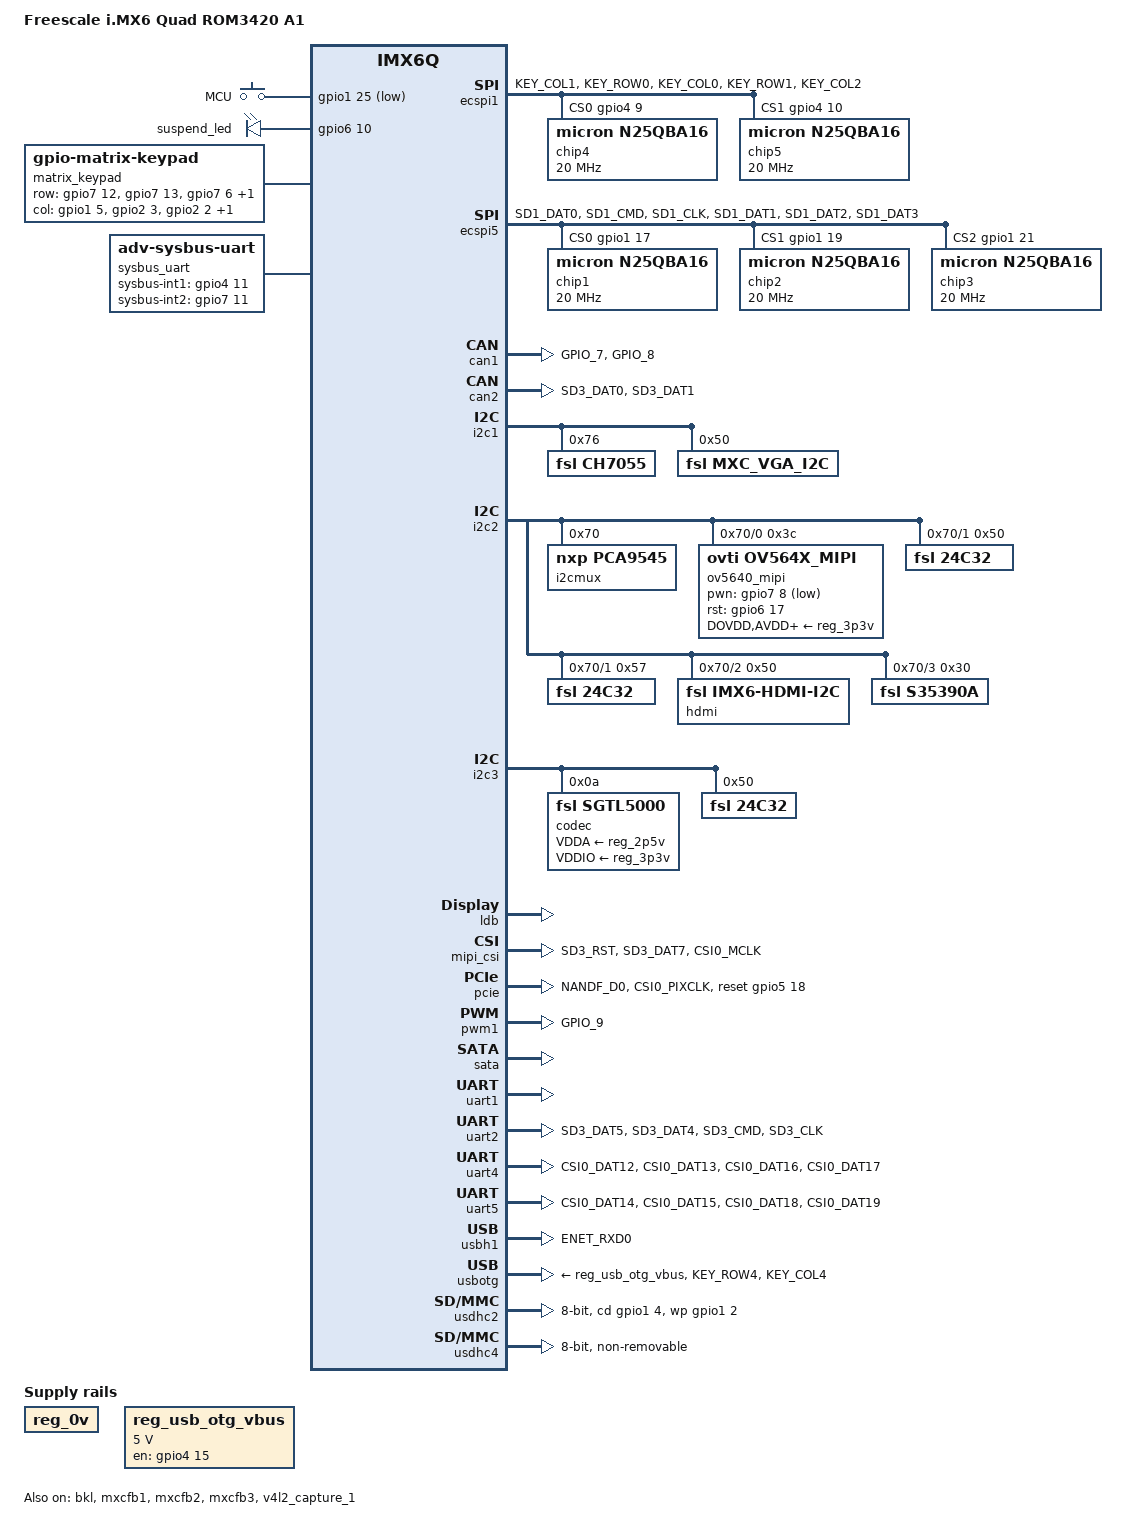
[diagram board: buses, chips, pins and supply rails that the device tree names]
/*
 * Copyright 2012 Freescale Semiconductor, Inc.
 * Copyright 2011 Linaro Ltd.
 *
 * The code contained herein is licensed under the GNU General Public
 * License. You may obtain a copy of the GNU General Public License
 * Version 2 or later at the following locations:
 *
 * http://www.opensource.org/licenses/gpl-license.html
 * http://www.gnu.org/copyleft/gpl.html
 */

/dts-v1/;

#include "imx6q.dtsi"
#include "imx6qdl-advantech.dtsi"

/ {
	model = "Freescale i.MX6 Quad ROM3420 A1";
	compatible = "fsl,imx6q-sabresd", "fsl,imx6q";

	board {
		compatible = "proc-board";
		board-type = "ROM-3420 A1";
		board-cpu = "DualQuad";
	};

	regulators {

		reg_0v: 0v {
			compatible = "regulator-fixed";
			regulator-name = "0V";
			regulator-min-microvolt = <0>;
			regulator-max-microvolt = <0>;
			regulator-always-on;
		};

		reg_usb_otg_vbus: usb_otg_vbus {
			compatible = "regulator-fixed";
			regulator-name = "usb_otg_vbus";
			regulator-min-microvolt = <5000000>;
			regulator-max-microvolt = <5000000>;
			gpio = <&gpio4 15  GPIO_ACTIVE_HIGH>;
			enable-active-high;
		};
	};

	gpio-keys {
		pinctrl-names = "default";
		pinctrl-0 = <&pinctrl_gpio_sleep_1>;
		compatible = "gpio-keys";
		mcu {
			label = "MCU";
			gpios = <&gpio1 25 1>; /* active low */
			linux,input-type = <1>;	/* EV_KEY */
			linux,code = <116>;	/* KEY_POWER */
			debounce_interval = <1>;
			gpio-key,wakeup;
		};
	};

	leds {
		compatible = "gpio-leds";
		pinctrl-names = "default";
		pinctrl-0 = <&pinctrl_leds_suspend_1>;
		suspend-led {	/* STBY_LED */
			label = "suspend_led";
			gpios = <&gpio6 10 0>;
			linux,default-trigger = "default-on";
			default-state = "on";
		};
	};

	matrix_keypad: matrix_keypad@0 {
		compatible = "gpio-matrix-keypad";
		debounce-delay-ms = <5>;
		col-scan-delay-us = <2>;

		row-gpios = <&gpio7 12 0	/* Bank7, pin12 */
					 &gpio7 13 0	/* Bank7, pin13 */
					 &gpio7  6 0	/* Bank7, pin6 */
					 &gpio7  7 0>;	/* Bank7, pin7 */

		col-gpios = <&gpio1 5 0		/* Bank1, pin5 */
					 &gpio2 3 0		/* Bank2, pin3 */
					 &gpio2 2 0		/* Bank2, pin2 */
					 &gpio1 1 0>;	/* Bank1, pin1 */

		linux,keymap = <0x00000001		/* KEY_ESC */
						0x00010002		/* KEY_1 */
						0x00020003		/* KEY_2 */
						0x00030004		/* KEY_3 */
						0x01000005		/* KEY_4 */
						0x01010006		/* KEY_5 */
						0x01020007		/* KEY_6 */
						0x01030008		/* KEY_7 */
						0x02000009		/* KEY_8 */
						0x0201000A		/* KEY_9 */
						0x0202000B		/* KEY_0 */
						0x0203000C		/* KEY_MINUS */
						0x0300000D		/* KEY_EQUAL */
						0x0301000E		/* KEY_BACKSPACE */
						0x0302000F		/* KEY_TAB */
						0x03030010>;	/* KEY_Q */
	};

	sysbus_uart {
		compatible = "adv-sysbus-uart";
		sysbus-int1 = <&gpio4 11 0>;
		sysbus-int2 = <&gpio7 11 0>;
	};
};

&audio_sgtl5000 {
	audio-codec = <&codec>;
};

&bkl {
	lvds-bkl-enable = <&gpio5 20 1>;
	lvds-vcc-enable = <&gpio5 21 1>;
	pwms = <&pwm1 0 5000000>;
	status = "okay";
};

&ecspi1 {
	fsl,spi-num-chipselects = <2>;
	cs-gpios = <&gpio4 9 0>, <&gpio4 10 0>;
	pinctrl-names = "default";
	pinctrl-0 = <&pinctrl_ecspi1_3 &pinctrl_ecspi1_cs_0 &pinctrl_ecspi1_cs_2>;
	status = "okay";

	chip4: m25p80@0 {
		compatible = "micron,n25qba16";
		spi-max-frequency = <20000000>;
		reg = <0>;
	};
	chip5: m25p80@1 {
		compatible = "micron,n25qba16";
		spi-max-frequency = <20000000>;
		reg = <1>;
	};
};

&ecspi5 {
	fsl,spi-num-chipselects = <3>;
	cs-gpios = <&gpio1 17 0>, <&gpio1 19 0>, <&gpio1 21 0>;
	pinctrl-names = "default";
	pinctrl-0 = <&pinctrl_ecspi5_1 &pinctrl_ecspi5_cs_0 &pinctrl_ecspi5_cs_1 &pinctrl_ecspi5_cs_2>;
	status = "okay";

	chip1: m25p80@0 {
		compatible = "micron,n25qba16";
		spi-max-frequency = <20000000>;
		reg = <0>;
	};
	chip2: m25p80@1 {
		compatible = "micron,n25qba16";
		spi-max-frequency = <20000000>;
		reg = <1>;
	};
	chip3: m25p80@2 {
		compatible = "micron,n25qba16";
		spi-max-frequency = <20000000>;
		reg = <2>;
	};
};

&can1 {
	pinctrl-names = "default";
	pinctrl-0 = <&pinctrl_flexcan1_1>;
	status = "okay";
};

&can2 {
	pinctrl-names = "default";
	pinctrl-0 = <&pinctrl_flexcan2_1>;
	status = "okay";
};

&i2c1 {

	ch7055@76 {
		compatible = "fsl,ch7055";
		reg = <0x76>;
	};

	mxc_vga_i2c@50 {
		compatible = "fsl,mxc_vga_i2c";
		reg = <0x50>;
	};
};

&i2c2 {

	i2cmux@70 {
		#address-cells = <1>;
		#size-cells = <0>;
		compatible = "nxp,pca9545";
		reg = <0x70>;

		i2c2@0 {
			reg = <0>;
			#address-cells = <1>;
			#size-cells = <0>;

			ov5640_mipi: ov5640_mipi@3c {
				compatible = "ovti,ov564x_mipi";
				reg = <0x3c>;
				clocks = <&clks 201>;
				clock-names = "csi_mclk";
				DOVDD-supply = <&reg_3p3v>; /* 3.3v, enabled via 2.8 VGEN6 */
				AVDD-supply = <&reg_3p3v>;  /* 1.8v */
				DVDD-supply = <&reg_3p3v>;  /* 1.8v */
				PVDD-supply = <&reg_3p3v>;  /* 1.8v */
				pwn-gpios = <&gpio7 8 1>;
				rst-gpios = <&gpio6 17 0>;
				csi_id = <1>;
				mclk = <24000000>;
				mclk_source = <0>;
			};
		};

		i2c2@1 {
			reg = <1>;
			#address-cells = <1>;
			#size-cells = <0>;

			24c32@50 {
				compatible = "fsl,24c32";
				reg = <0x50>;
			};

			24c32@57 {
				compatible = "fsl,24c32";
				reg = <0x57>;
			};
		};

		i2c2@2 {
			reg = <2>;
			#address-cells = <1>;
			#size-cells = <0>;

			hdmi: edid@50 {
				compatible = "fsl,imx6-hdmi-i2c";
				reg = <0x50>;
			};
		};

		i2c2@3 {
			reg = <3>;
			#address-cells = <1>;
			#size-cells = <0>;

			s35390a@30 {
				compatible = "fsl,s35390a";
				reg = <0x30>;
			};
		};
	};
};

&i2c3 {

	codec: sgtl5000@0a {
		compatible = "fsl,sgtl5000";
		reg = <0x0a>;
		clocks = <&clks 201>;
		VDDA-supply = <&reg_2p5v>;
		VDDIO-supply = <&reg_3p3v>;
		mclk = <16000000>;
		mclk_source = <0>;
	};

	24c32@50 {
		compatible = "fsl,24c32";
		reg = <0x50>;
	};
};

&iomuxc {
	pinctrl-names = "default";
	pinctrl-0 = <&pinctrl_hog_1 &pinctrl_hog_2 &pinctrl_hog_3>;

	can1 {
		pinctrl_flexcan1_1: flexcan1grp-1 {
			fsl,pins = <
				MX6QDL_PAD_GPIO_7__FLEXCAN1_TX		0x80000000
				MX6QDL_PAD_GPIO_8__FLEXCAN1_RX		0x80000000
			>;
		};
	};

	can2 {
		pinctrl_flexcan2_1: flexcan2grp-1 {
			fsl,pins = <
				MX6QDL_PAD_SD3_DAT0__FLEXCAN2_TX	0x80000000
				MX6QDL_PAD_SD3_DAT1__FLEXCAN2_RX	0x80000000
			>;
		};
	};

	gpio-keys {
			pinctrl_gpio_sleep_1: gpio_sleep1grp-1 {
			fsl,pins = <
				MX6QDL_PAD_ENET_CRS_DV__GPIO1_IO25	0x80000000	/* SLEEP Button */
			>;
		};
	};

	hog {
		pinctrl_hog_2: hoggrp-2 {
			fsl,pins = <
				MX6QDL_PAD_GPIO_1__GPIO1_IO01		0x80000000	/* GPIO0 */
				MX6QDL_PAD_NANDF_D2__GPIO2_IO02		0x80000000	/* GPIO1 */
				MX6QDL_PAD_NANDF_D3__GPIO2_IO03		0x80000000	/* GPIO2 */
				MX6QDL_PAD_GPIO_5__GPIO1_IO05		0x80000000	/* GPIO3 */
				MX6QDL_PAD_GPIO_17__GPIO7_IO12		0x80000000	/* GPIO4 */
				MX6QDL_PAD_GPIO_18__GPIO7_IO13		0x80000000	/* GPIO5 */
				MX6QDL_PAD_SD3_DAT2__GPIO7_IO06		0x80000000	/* GPIO6 */
				MX6QDL_PAD_SD3_DAT3__GPIO7_IO07		0x80000000	/* GPIO7 */
				MX6QDL_PAD_NANDF_ALE__GPIO6_IO08	0x80000000	/* GPIO8 */
				MX6QDL_PAD_NANDF_D6__GPIO2_IO06		0x80000000	/* GPIO9 */
			>;
		};

		pinctrl_hog_3: hoggrp-3 {
			fsl,pins = <
				MX6QDL_PAD_EIM_CS0__EIM_CS0_B		0xb0b1		/* CS0 */
				MX6QDL_PAD_EIM_CS1__EIM_CS1_B		0xb0b1		/* CS1 */
				MX6QDL_PAD_KEY_ROW2__GPIO4_IO11		0x1b0b0		/* ADV_EXT_UART0_INT: CS0 - INT Pin - irq */
				MX6QDL_PAD_GPIO_16__GPIO7_IO11		0x1b0b0		/* ADV_EXT_UART1_INT: CS1 - INT Pin - irq */
				MX6QDL_PAD_EIM_OE__EIM_OE_B     	0xb0b1
				MX6QDL_PAD_EIM_RW__EIM_RW       	0xb0b1
				MX6QDL_PAD_EIM_WAIT__EIM_WAIT_B 	0xb060
				MX6QDL_PAD_EIM_A25__EIM_ADDR25		0xb0b1
				MX6QDL_PAD_EIM_EB2__EIM_EB2_B		0x1b0b0
				MX6QDL_PAD_EIM_D16__EIM_DATA16		0xb0b1
				MX6QDL_PAD_EIM_D17__EIM_DATA17		0xb0b1
				MX6QDL_PAD_EIM_D18__EIM_DATA18		0xb0b1
				MX6QDL_PAD_EIM_D19__EIM_DATA19		0xb0b1
				MX6QDL_PAD_EIM_D20__EIM_DATA20		0xb0b1
				MX6QDL_PAD_EIM_D21__EIM_DATA21		0xb0b1
				MX6QDL_PAD_EIM_D22__EIM_DATA22		0xb0b1
				MX6QDL_PAD_EIM_D23__EIM_DATA23		0xb0b1
				MX6QDL_PAD_EIM_EB3__EIM_EB3_B		0x1b0b0
				MX6QDL_PAD_EIM_D24__EIM_DATA24		0xb0b1
				MX6QDL_PAD_EIM_D25__EIM_DATA25		0xb0b1
				MX6QDL_PAD_EIM_D26__EIM_DATA26		0xb0b1
				MX6QDL_PAD_EIM_D27__EIM_DATA27		0xb0b1
				MX6QDL_PAD_EIM_D28__EIM_DATA28		0xb0b1
				MX6QDL_PAD_EIM_D29__EIM_DATA29		0xb0b1
				MX6QDL_PAD_EIM_D30__EIM_DATA30		0xb0b1
				MX6QDL_PAD_EIM_D31__EIM_DATA31		0xb0b1
				MX6QDL_PAD_EIM_A24__EIM_ADDR24		0xb0b1
				MX6QDL_PAD_EIM_A23__EIM_ADDR23		0xb0b1
				MX6QDL_PAD_EIM_A22__EIM_ADDR22		0xb0b1
				MX6QDL_PAD_EIM_A21__EIM_ADDR21		0xb0b1
				MX6QDL_PAD_EIM_A20__EIM_ADDR20		0xb0b1
				MX6QDL_PAD_EIM_A19__EIM_ADDR19		0xb0b1
				MX6QDL_PAD_EIM_A18__EIM_ADDR18		0xb0b1
				MX6QDL_PAD_EIM_A17__EIM_ADDR17		0xb0b1
				MX6QDL_PAD_EIM_A16__EIM_ADDR16		0xb0b1
				MX6QDL_PAD_EIM_LBA__EIM_LBA_B		0xb0b1
				MX6QDL_PAD_EIM_EB0__EIM_EB0_B		0xb0b1
				MX6QDL_PAD_EIM_EB1__EIM_EB1_B		0xb0b1
				MX6QDL_PAD_EIM_DA0__EIM_AD00		0xb0b1
				MX6QDL_PAD_EIM_DA1__EIM_AD01		0xb0b1
				MX6QDL_PAD_EIM_DA2__EIM_AD02		0xb0b1
				MX6QDL_PAD_EIM_DA3__EIM_AD03		0xb0b1
				MX6QDL_PAD_EIM_DA4__EIM_AD04		0xb0b1
				MX6QDL_PAD_EIM_DA5__EIM_AD05		0xb0b1
				MX6QDL_PAD_EIM_DA6__EIM_AD06		0xb0b1
				MX6QDL_PAD_EIM_DA7__EIM_AD07		0xb0b1
				MX6QDL_PAD_EIM_DA8__EIM_AD08		0xb0b1
				MX6QDL_PAD_EIM_DA9__EIM_AD09		0xb0b1
				MX6QDL_PAD_EIM_DA10__EIM_AD10		0xb0b1
				MX6QDL_PAD_EIM_DA11__EIM_AD11		0xb0b1
				MX6QDL_PAD_EIM_DA12__EIM_AD12		0xb0b1
				MX6QDL_PAD_EIM_DA13__EIM_AD13		0xb0b1
				MX6QDL_PAD_EIM_DA14__EIM_AD14		0xb0b1
				MX6QDL_PAD_EIM_DA15__EIM_AD15		0xb0b1
				MX6QDL_PAD_EIM_BCLK__EIM_BCLK		0xb0b1
			>;
		};
	};

	keypad {
		pinctrl_keypad_1: keypad_grp-1 {
			fsl,pins = <
				MX6QDL_PAD_GPIO_1__GPIO1_IO01		0x80000000	/* col 3: GPIO0 */
				MX6QDL_PAD_NANDF_D2__GPIO2_IO02		0x80000000	/* col 2: GPIO1 */
				MX6QDL_PAD_NANDF_D3__GPIO2_IO03		0x80000000	/* col 1: GPIO2 */
				MX6QDL_PAD_GPIO_5__GPIO1_IO05		0x80000000	/* col 0: GPIO3 */
				MX6QDL_PAD_GPIO_17__GPIO7_IO12		0x80000000	/* row 0: GPIO4 */
				MX6QDL_PAD_GPIO_18__GPIO7_IO13		0x80000000	/* row 1: GPIO5 */
				MX6QDL_PAD_SD3_DAT2__GPIO7_IO06		0x80000000	/* row 2: GPIO6 */
				MX6QDL_PAD_SD3_DAT3__GPIO7_IO07		0x80000000	/* row 3: GPIO7 */
			>;
		};
	};

	leds {
		pinctrl_leds_suspend_1: leds_suspend1grp-1{
			fsl,pins = <
				MX6QDL_PAD_NANDF_RB0__GPIO6_IO10	0x80000000	/* Suspend LED */
			>;
		};
	};

	lvds {
		pinctrl_lvds_bkl_1: lvds_bklgrp-1 {
			fsl,pins = <
				MX6QDL_PAD_CSI0_DATA_EN__GPIO5_IO20	0x170b0		/* LCD_BKLT_EN */
			>;
		};
		pinctrl_lvds_vcc_1: lvds_vccgrp-1 {
			fsl,pins = <
				MX6QDL_PAD_CSI0_VSYNC__GPIO5_IO21	0x170b0		/* LCD_VDD_EN */
			>;
		};
	};

	mipi-csi {
		pinctrl_mipi_csi_1: mipi_csi1grp-1{
			fsl,pins = <
				MX6QDL_PAD_SD3_RST__GPIO7_IO08		0x80000000	/* MIPICSI_PWN */
				MX6QDL_PAD_SD3_DAT7__GPIO6_IO17		0x80000000	/* MIPICSI_RST */
				MX6QDL_PAD_CSI0_MCLK__CCM_CLKO1		0x80000000	/* CSI0_MCLK */
			>;
		};
	};

	pcie {
		pinctrl_pcie_1: pcie1grp-1 {
			fsl,pins = <
				MX6QDL_PAD_NANDF_D0__GPIO2_IO00 	0x80000000	/* PCIE_WAKE_B */
				MX6QDL_PAD_CSI0_PIXCLK__GPIO5_IO18	0x80000000	/* PCIE_RST_B_REVB */
			>;
		};
	};

	pwm1 {
		pinctrl_pwm1_1: pwm1grp-1 {
			fsl,pins = <
				MX6QDL_PAD_GPIO_9__PWM1_OUT			0x1b0b1
			>;
		};
	};

	spi1 {
		pinctrl_ecspi1_cs_0: ecspi1_cs_grp-0 {
			fsl,pins = <
				MX6QDL_PAD_KEY_ROW1__GPIO4_IO09		0x0001B0B0	/* ECSPI1_CS0 */
			>;
		};

		pinctrl_ecspi1_cs_2: ecspi1_cs_grp-2 {
			fsl,pins = <
				MX6QDL_PAD_KEY_COL2__GPIO4_IO10		0x0001B0B0	/* ECSPI1_CS1 */
			>;
		};

		pinctrl_ecspi1_3: ecspi1grp-3 {
			fsl,pins = <
				MX6QDL_PAD_KEY_COL1__ECSPI1_MISO	0x0001B0B0
				MX6QDL_PAD_KEY_ROW0__ECSPI1_MOSI	0x0001B0B0
				MX6QDL_PAD_KEY_COL0__ECSPI1_SCLK	0x0001B0B0
			>;
		};
	};

	spi5 {
		pinctrl_ecspi5_cs_0: ecspi5_cs_grp-0 {
			fsl,pins = <
				MX6QDL_PAD_SD1_DAT1__GPIO1_IO17		0x0001B0B0	/* ECSPI5_CS0 */
			>;
		};

		pinctrl_ecspi5_cs_1: ecspi5_cs_grp-1 {
			fsl,pins = <
				MX6QDL_PAD_SD1_DAT2__GPIO1_IO19		0x0001B0B0	/* ECSPI5_CS1 */
			>;
		};

		pinctrl_ecspi5_cs_2: ecspi5_cs_grp-2 {
			fsl,pins = <
				MX6QDL_PAD_SD1_DAT3__GPIO1_IO21		0x0001B0B0	/* ECSPI5_CS2 */
			>;
		};

		pinctrl_ecspi5_1: ecspi5grp-1 {
			fsl,pins = <
				MX6QDL_PAD_SD1_DAT0__ECSPI5_MISO	0x0001B0B0
				MX6QDL_PAD_SD1_CMD__ECSPI5_MOSI		0x0001B0B0
				MX6QDL_PAD_SD1_CLK__ECSPI5_SCLK		0x0001B0B0
			>;
		};
	};

	uart2 {
		pinctrl_uart2_4: uart2grp-4 {
			fsl,pins = <
				MX6QDL_PAD_SD3_DAT5__UART2_TX_DATA	0x1b0b1
				MX6QDL_PAD_SD3_DAT4__UART2_RX_DATA	0x1b0b1
				MX6QDL_PAD_SD3_CMD__UART2_CTS_B		0x1b0b1
				MX6QDL_PAD_SD3_CLK__UART2_RTS_B		0x1b0b1
			>;
		};
	};

	uart4 {
		pinctrl_uart4_2: uart4grp-2 {
			fsl,pins = <
				MX6QDL_PAD_CSI0_DAT12__UART4_TX_DATA	0x1b0b1
				MX6QDL_PAD_CSI0_DAT13__UART4_RX_DATA	0x1b0b1
				MX6QDL_PAD_CSI0_DAT16__UART4_RTS_B		0x1b0b1
				MX6QDL_PAD_CSI0_DAT17__UART4_CTS_B		0x1b0b1
			>;
		};
	};

	uart5 {
		pinctrl_uart5_1: uart5grp-1 {
			fsl,pins = <
				MX6QDL_PAD_CSI0_DAT14__UART5_TX_DATA	0x1b0b1
				MX6QDL_PAD_CSI0_DAT15__UART5_RX_DATA	0x1b0b1
				MX6QDL_PAD_CSI0_DAT18__UART5_RTS_B		0x1b0b1
				MX6QDL_PAD_CSI0_DAT19__UART5_CTS_B		0x1b0b1
			>;
		};
	};

	usbh1 {
		pinctrl_usbh1_1: usbh1_grp-1 {
			fsl,pins = <
				MX6QDL_PAD_ENET_RXD0__GPIO1_IO27	0x80000000	/* USB_HOST_OC */
			>;
		};
	};

	usbotg {
		pinctrl_usbotg_pwr_1: usbotg_pwr_grp-1 {
			fsl,pins = <
				MX6QDL_PAD_KEY_ROW4__GPIO4_IO15		0x80000000	/* USB_OTG_PWR */
				MX6QDL_PAD_KEY_COL4__GPIO4_IO14		0x80000000	/* USB_OTG_OC */
			>;
		};
	};
};

&ldb {
	status = "okay";
};

&mipi_csi {
	pinctrl-names = "default";
	pinctrl-0 = <&pinctrl_mipi_csi_1>;
	status = "okay";
};

&mxcfb1 {
	status = "okay";
};

&mxcfb2 {
	status = "okay";
};

&mxcfb3 {
	status = "okay";
};

&pcie {
	pinctrl-names = "default";
	pinctrl-0 = <&pinctrl_pcie_1>;
	power-on-gpio = <&gpio2 0 0>;
	reset-gpio = <&gpio5 18 0>;
	status = "okay";
};

&pwm1 {
	pinctrl-names = "default";
	pinctrl-0 = <&pinctrl_pwm1_1>;
	status = "okay";
};

&sata {
	status = "okay";
};

&uart1 {
	pinctrl-names = "default";
	pinctrl-0 = <&pinctrl_uart1_1>;
	status = "okay";
};

&uart2 {
	pinctrl-names = "default";
	pinctrl-0 = <&pinctrl_uart2_4>;
	fsl,uart-has-rtscts;
	status = "okay";
};

&uart4 {
	pinctrl-names = "default";
	pinctrl-0 = <&pinctrl_uart4_2>;
	fsl,uart-has-rtscts;
	status = "okay";
};

&uart5 {
	pinctrl-names = "default";
	pinctrl-0 = <&pinctrl_uart5_1>;
	status = "okay";
};

&usbh1 {
	pinctrl-names = "default";
	pinctrl-0 = <&pinctrl_usbh1_1>;
	status = "okay";
};

&usbotg {
	pinctrl-names = "default";
	pinctrl-0 = <&pinctrl_usbotg_2 &pinctrl_usbotg_pwr_1>;
	vbus-supply = <&reg_usb_otg_vbus>;
	imx6-usb-charger-detection;
	status = "okay";
};

&usdhc2 {
	pinctrl-names = "default";
	pinctrl-0 = <&pinctrl_usdhc2_2>;
	bus-width = <8>;
	cd-gpios = <&gpio1 4 0>;
	wp-gpios = <&gpio1 2 0>;
	//vmmc-supply = <&reg_3p3v>;
	//vqmmc-supply = <&reg_3p3v>;
	no-1-8-v;
	keep-power-in-suspend;
	enable-sdio-wakeup;
	status = "okay";
};

&usdhc4 {
	pinctrl-names = "default";
	pinctrl-0 = <&pinctrl_usdhc4_1>;
	bus-width = <8>;
	//vmmc-supply = <&reg_3p3v>;
	//vqmmc-supply = <&reg_3p3v>;
	non-removable;
	no-1-8-v;
	keep-power-in-suspend;
	status = "okay";
};

&v4l2_capture_1 {
	status = "okay";
};
